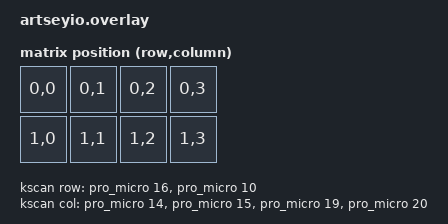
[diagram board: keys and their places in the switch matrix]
#include <dt-bindings/zmk/matrix_transform.h>

/ {
    aliases {
        led-red = &led0;
        led-green = &led1;
        led-blue = &led2;
    };

    leds {
        compatible = "gpio-leds";
        status = "okay";
        led0: led_0 {
            gpios = <&pro_micro 4 GPIO_ACTIVE_LOW>;
        };
        led1: led_1 {
            gpios = <&pro_micro 5 GPIO_ACTIVE_LOW>;
        };
        led2: led_2 {
            gpios = <&pro_micro 6 GPIO_ACTIVE_LOW>;
        };
    };

    chosen {
        zmk,kscan = &kscan;
        zmk,matrix_transform = &transform;
    };

    kscan: kscan {
        compatible = "zmk,kscan-gpio-matrix";
        label = "KSCAN";
        diode-direction = "col2row";

        row-gpios = <&pro_micro 16 (GPIO_ACTIVE_HIGH | GPIO_PULL_DOWN)>,
                    <&pro_micro 10 (GPIO_ACTIVE_HIGH | GPIO_PULL_DOWN)>;

        col-gpios = 
                    <&pro_micro 14 (GPIO_ACTIVE_HIGH)>,
                    <&pro_micro 15 (GPIO_ACTIVE_HIGH)>,
                    <&pro_micro 19 (GPIO_ACTIVE_HIGH)>,
                    <&pro_micro 20 (GPIO_ACTIVE_HIGH)>;
    };

    transform: matrix_transform {
        compatible = "zmk,matrix-transform";
        rows = <2>;
        columns = <4>;

        map = <
                     RC(0, 0) RC(0, 1) RC(0, 2) RC(0, 3) 
                     RC(1, 0 )RC(1, 1) RC(1, 2) RC(1, 3)
        >;
    };
};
